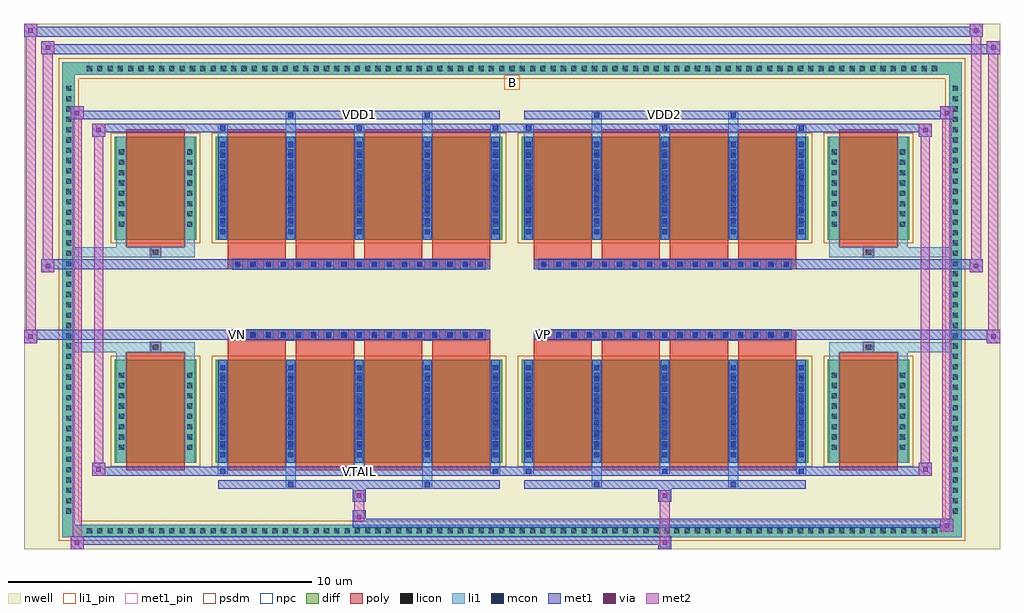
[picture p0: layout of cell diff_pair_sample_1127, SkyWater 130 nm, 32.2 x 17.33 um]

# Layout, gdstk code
import gdstk
lib = gdstk.Library(unit=1e-6, precision=5e-09)
def R(c, l, rs):  # rectangles x0, y0, x1, y1
    for r in rs: c.add(gdstk.rectangle(r[:2], r[2:], *l))
def A(c, l, x, y, w, h, nx, ny, dx, dy):  # array of equal rectangles
    R(c, l, [(x+i*dx, y+j*dy, x+i*dx+w, y+j*dy+h) for i in range(nx) for j in range(ny)])
def P(c, l, *ps):  # polygons
    for p in ps: c.add(gdstk.Polygon(p, *l))
nwell = (64, 20)
diff = (65, 20)
poly = (66, 20)
licon = (66, 44)
li1_pin = (67, 16)
li1 = (67, 20)
mcon = (67, 44)
met1_pin = (68, 16)
met1 = (68, 20)
via = (68, 44)
met2 = (69, 20)
psdm = (94, 20)
npc = (95, 20)

diff_pair_sample_1127 = lib.new_cell('diff_pair_sample_1127')
R(diff_pair_sample_1127, nwell, [(-16.1,-8.23,16.1,9.1), (-13.42,-6.42,-0.01,-0.8), (0.01,-6.42,13.42,-0.8), (-13.42,0.8,-0.01,6.42), (0.01,0.8,13.42,6.42)])
A(diff_pair_sample_1127, diff, -14.145, -7.83, 0.41, 0.41, 83, 2, 0.34, 15.25)
A(diff_pair_sample_1127, diff, -14.83, -7.175, 0.41, 0.41, 1, 42, 0, 0.34)
A(diff_pair_sample_1127, diff, 14.42, -7.175, 0.41, 0.41, 1, 42, 0, 0.34)
R(diff_pair_sample_1127, diff, [(-14.145,-7.83,14.145,-7.42), (-14.83,-7.175,-14.42,7.175), (14.42,-7.175,14.83,7.175), (-13.11,-5.375,-10.41,-1.985), (-9.77,-5.375,-0.32,-1.985), (0.32,-5.375,9.77,-1.985), (10.41,-5.375,13.11,-1.985), (-13.11,1.985,-10.41,5.375), (-9.77,1.985,-0.32,5.375), (0.32,1.985,9.77,5.375), (10.41,1.985,13.11,5.375), (-14.145,7.42,14.145,7.83)])
P(diff_pair_sample_1127, diff, [(14.83,7.83),(-14.83,7.83),(-14.83,-7.42),(-14.42,-7.42),(-14.42,7.42),(14.42,7.42),(14.42,-7.42),(-14.42,-7.42),(-14.83,-7.42),(-14.83,-7.83),(14.83,-7.83)])
A(diff_pair_sample_1127, poly, -9.38, -5.625, 1.92, 3.89, 4, 2, 2.25, 7.36)
A(diff_pair_sample_1127, poly, 0.71, -5.625, 1.92, 3.89, 4, 2, 2.25, 7.36)
A(diff_pair_sample_1127, poly, -9.38, -1.735, 1.92, 0.405, 4, 2, 2.25, 3.065)
A(diff_pair_sample_1127, poly, 0.71, -1.735, 1.92, 0.405, 4, 2, 2.25, 3.065)
A(diff_pair_sample_1127, poly, -9.21, -1.33, 0.33, 0.33, 17, 2, 0.5, 2.33)
A(diff_pair_sample_1127, poly, 0.88, -1.33, 0.33, 0.33, 17, 2, 0.5, 2.33)
R(diff_pair_sample_1127, poly, [(-12.72,-5.625,-10.8,-1.735), (10.8,-5.625,12.72,-1.735), (-11.925,-1.735,-11.595,-1.405), (-11.925,-1.735,-11.595,-1.405), (11.595,-1.735,11.925,-1.405), (11.595,-1.735,11.925,-1.405), (-9.38,-1.33,-0.71,-1), (0.71,-1.33,9.38,-1), (-9.38,1,-0.71,1.33), (0.71,1,9.38,1.33), (-11.925,1.405,-11.595,1.735), (-11.925,1.405,-11.595,1.735), (11.595,1.405,11.925,1.735), (11.595,1.405,11.925,1.735), (-12.72,1.735,-10.8,5.625), (10.8,1.735,12.72,5.625)])
A(diff_pair_sample_1127, licon, -14.025, -7.71, 0.17, 0.17, 83, 2, 0.34, 15.25)
A(diff_pair_sample_1127, licon, -14.71, -7.055, 0.17, 0.17, 1, 42, 0, 0.34)
A(diff_pair_sample_1127, licon, 14.54, -7.055, 0.17, 0.17, 1, 42, 0, 0.34)
A(diff_pair_sample_1127, licon, -12.97, -4.955, 0.17, 0.17, 1, 8, 0, 0.34)
A(diff_pair_sample_1127, licon, -10.72, -4.955, 0.17, 0.17, 1, 8, 0, 0.34)
A(diff_pair_sample_1127, licon, -9.63, -4.955, 0.17, 0.17, 5, 8, 2.25, 0.34)
A(diff_pair_sample_1127, licon, 0.46, -4.955, 0.17, 0.17, 5, 8, 2.25, 0.34)
A(diff_pair_sample_1127, licon, 10.55, -4.955, 0.17, 0.17, 1, 8, 0, 0.34)
A(diff_pair_sample_1127, licon, 12.8, -4.955, 0.17, 0.17, 1, 8, 0, 0.34)
A(diff_pair_sample_1127, licon, -9.13, -1.25, 0.17, 0.17, 17, 2, 0.5, 2.33)
A(diff_pair_sample_1127, licon, 0.96, -1.25, 0.17, 0.17, 17, 2, 0.5, 2.33)
A(diff_pair_sample_1127, licon, -12.97, 2.405, 0.17, 0.17, 1, 8, 0, 0.34)
A(diff_pair_sample_1127, licon, -10.72, 2.405, 0.17, 0.17, 1, 8, 0, 0.34)
A(diff_pair_sample_1127, licon, -9.63, 2.405, 0.17, 0.17, 5, 8, 2.25, 0.34)
A(diff_pair_sample_1127, licon, 0.46, 2.405, 0.17, 0.17, 5, 8, 2.25, 0.34)
A(diff_pair_sample_1127, licon, 10.55, 2.405, 0.17, 0.17, 1, 8, 0, 0.34)
A(diff_pair_sample_1127, licon, 12.8, 2.405, 0.17, 0.17, 1, 8, 0, 0.34)
R(diff_pair_sample_1127, licon, [(-11.845,-1.655,-11.675,-1.485), (11.675,-1.655,11.845,-1.485), (-11.845,1.485,-11.675,1.655), (11.675,1.485,11.845,1.655)])
R(diff_pair_sample_1127, li1_pin, [(-0.25,6.92,0.25,7.42)])
A(diff_pair_sample_1127, li1, -14.105, -7.79, 0.33, 0.33, 83, 2, 0.34, 15.25)
A(diff_pair_sample_1127, li1, -14.79, -7.135, 0.33, 0.33, 1, 42, 0, 0.34)
A(diff_pair_sample_1127, li1, 14.46, -7.135, 0.33, 0.33, 1, 42, 0, 0.34)
A(diff_pair_sample_1127, li1, -9.71, -5.75, 0.33, 0.375, 3, 2, 4.5, 11.125)
A(diff_pair_sample_1127, li1, -9.63, -5.75, 0.17, 0.17, 3, 2, 4.5, 11.33)
A(diff_pair_sample_1127, li1, 0.38, -5.75, 0.33, 0.375, 3, 2, 4.5, 11.125)
A(diff_pair_sample_1127, li1, 0.46, -5.75, 0.17, 0.17, 3, 2, 4.5, 11.33)
A(diff_pair_sample_1127, li1, -9.71, -5.375, 0.33, 3.39, 5, 2, 2.25, 7.36)
A(diff_pair_sample_1127, li1, 0.38, -5.375, 0.33, 3.39, 5, 2, 2.25, 7.36)
A(diff_pair_sample_1127, li1, -9.63, -5.205, 0.17, 0.17, 5, 9, 2.25, 0.36)
A(diff_pair_sample_1127, li1, -9.63, -5.205, 0.17, 3.05, 5, 2, 2.25, 7.36)
A(diff_pair_sample_1127, li1, 0.46, -5.205, 0.17, 0.17, 5, 9, 2.25, 0.36)
A(diff_pair_sample_1127, li1, 0.46, -5.205, 0.17, 3.05, 5, 2, 2.25, 7.36)
A(diff_pair_sample_1127, li1, -13.05, -5.035, 0.33, 0.33, 1, 8, 0, 0.34)
A(diff_pair_sample_1127, li1, -10.8, -5.035, 0.33, 0.33, 1, 8, 0, 0.34)
A(diff_pair_sample_1127, li1, -9.71, -5.035, 0.33, 0.33, 5, 8, 2.25, 0.34)
A(diff_pair_sample_1127, li1, 0.38, -5.035, 0.33, 0.33, 5, 8, 2.25, 0.34)
A(diff_pair_sample_1127, li1, 10.47, -5.035, 0.33, 0.33, 1, 8, 0, 0.34)
A(diff_pair_sample_1127, li1, 12.72, -5.035, 0.33, 0.33, 1, 8, 0, 0.34)
A(diff_pair_sample_1127, li1, -9.21, -1.33, 0.33, 0.33, 17, 2, 0.5, 2.33)
A(diff_pair_sample_1127, li1, 0.88, -1.33, 0.33, 0.33, 17, 2, 0.5, 2.33)
A(diff_pair_sample_1127, li1, -9.63, 2.155, 0.17, 0.17, 5, 9, 2.25, 0.36)
A(diff_pair_sample_1127, li1, 0.46, 2.155, 0.17, 0.17, 5, 9, 2.25, 0.36)
A(diff_pair_sample_1127, li1, -13.05, 2.325, 0.33, 0.33, 1, 8, 0, 0.34)
A(diff_pair_sample_1127, li1, -10.8, 2.325, 0.33, 0.33, 1, 8, 0, 0.34)
A(diff_pair_sample_1127, li1, -9.71, 2.325, 0.33, 0.33, 5, 8, 2.25, 0.34)
A(diff_pair_sample_1127, li1, 0.38, 2.325, 0.33, 0.33, 5, 8, 2.25, 0.34)
A(diff_pair_sample_1127, li1, 10.47, 2.325, 0.33, 0.33, 1, 8, 0, 0.34)
A(diff_pair_sample_1127, li1, 12.72, 2.325, 0.33, 0.33, 1, 8, 0, 0.34)
R(diff_pair_sample_1127, li1, [(-14.83,-7.83,-14.42,-7.42), (-14.83,-7.83,-14.42,-7.42), (-14.42,-7.83,14.42,-7.42), (14.42,-7.83,14.83,-7.42), (14.42,-7.83,14.83,-7.42), (-14.83,-7.42,-14.42,7.42), (14.42,-7.42,14.83,7.42), (-7.46,-6.18,-7.13,-5.375), (-7.38,-6.18,-7.21,-6.01), (-2.96,-6.18,-2.63,-5.375), (-2.88,-6.18,-2.71,-6.01), (2.63,-6.18,2.96,-5.375), (2.71,-6.18,2.88,-6.01), (7.13,-6.18,7.46,-5.375), (7.21,-6.18,7.38,-6.01), (-13.05,-5.375,-12.72,-1.985), (-10.8,-5.375,-10.47,-1.985), (10.47,-5.375,10.8,-1.985), (12.72,-5.375,13.05,-1.985), (-13.05,-1.985,-12.72,-1.405), (-10.8,-1.985,-10.47,-1.405), (10.47,-1.985,10.8,-1.405), (12.72,-1.985,13.05,-1.405), (-14.83,-1.735,-11.925,-1.405), (-13.05,-1.735,-11.925,-1.405), (-11.925,-1.735,-11.595,-1.405), (-11.595,-1.735,-10.47,-1.405), (10.47,-1.735,11.595,-1.405), (11.595,-1.735,11.925,-1.405), (11.595,-1.735,14.83,-1.405), (11.925,-1.735,13.05,-1.405), (-14.83,1.405,-11.925,1.735), (-13.05,1.405,-11.925,1.735), (-13.05,1.405,-12.72,1.985), (-11.925,1.405,-11.595,1.735), (-11.595,1.405,-10.47,1.735), (-10.8,1.405,-10.47,1.985), (10.47,1.405,11.595,1.735), (10.47,1.405,10.8,1.985), (11.595,1.405,11.925,1.735), (11.595,1.405,14.83,1.735), (11.925,1.405,13.05,1.735), (12.72,1.405,13.05,1.985), (-13.05,1.985,-12.72,5.375), (-10.8,1.985,-10.47,5.375), (10.47,1.985,10.8,5.375), (12.72,1.985,13.05,5.375), (-7.46,5.375,-7.13,6.18), (-2.96,5.375,-2.63,6.18), (2.63,5.375,2.96,6.18), (7.13,5.375,7.46,6.18), (-7.38,6.01,-7.21,6.18), (-2.88,6.01,-2.71,6.18), (2.71,6.01,2.88,6.18), (7.21,6.01,7.38,6.18), (-14.83,7.42,-14.42,7.83), (-14.83,7.42,-14.42,7.83), (-14.42,7.42,14.42,7.83), (14.42,7.42,14.83,7.83), (14.42,7.42,14.83,7.83)])
A(diff_pair_sample_1127, mcon, -9.63, -5.75, 0.17, 0.17, 3, 2, 4.5, 11.33)
A(diff_pair_sample_1127, mcon, 0.46, -5.75, 0.17, 0.17, 3, 2, 4.5, 11.33)
A(diff_pair_sample_1127, mcon, -9.63, -5.205, 0.17, 0.17, 5, 9, 2.25, 0.36)
A(diff_pair_sample_1127, mcon, 0.46, -5.205, 0.17, 0.17, 5, 9, 2.25, 0.36)
A(diff_pair_sample_1127, mcon, -9.13, -1.25, 0.17, 0.17, 17, 2, 0.5, 2.33)
A(diff_pair_sample_1127, mcon, 0.96, -1.25, 0.17, 0.17, 17, 2, 0.5, 2.33)
A(diff_pair_sample_1127, mcon, -9.63, 2.155, 0.17, 0.17, 5, 9, 2.25, 0.36)
A(diff_pair_sample_1127, mcon, 0.46, 2.155, 0.17, 0.17, 5, 9, 2.25, 0.36)
R(diff_pair_sample_1127, mcon, [(-7.38,-6.18,-7.21,-6.01), (-2.88,-6.18,-2.71,-6.01), (2.71,-6.18,2.88,-6.01), (7.21,-6.18,7.38,-6.01), (-7.38,6.01,-7.21,6.18), (-2.88,6.01,-2.71,6.18), (2.71,6.01,2.88,6.18), (7.21,6.01,7.38,6.18)])
R(diff_pair_sample_1127, met1_pin, [(-5.18,-5.79,-4.91,-5.52), (-9.18,-1.29,-8.91,-1.02), (0.91,-1.29,1.18,-1.02), (-5.18,5.97,-4.91,6.24), (4.91,5.97,5.18,6.24)])
A(diff_pair_sample_1127, met1, -9.69, -5.81, 0.29, 0.29, 3, 2, 4.5, 11.33)
A(diff_pair_sample_1127, met1, 0.4, -5.81, 0.29, 0.29, 3, 2, 4.5, 11.33)
A(diff_pair_sample_1127, met1, -9.69, -5.375, 0.29, 3.39, 5, 2, 2.25, 7.36)
A(diff_pair_sample_1127, met1, 0.4, -5.375, 0.29, 3.39, 5, 2, 2.25, 7.36)
A(diff_pair_sample_1127, met1, -9.69, -5.265, 0.29, 0.29, 5, 9, 2.25, 0.36)
A(diff_pair_sample_1127, met1, 0.4, -5.265, 0.29, 0.29, 5, 9, 2.25, 0.36)
A(diff_pair_sample_1127, met1, -9.19, -1.31, 0.29, 0.29, 17, 2, 0.5, 2.33)
A(diff_pair_sample_1127, met1, 0.9, -1.31, 0.29, 0.29, 17, 2, 0.5, 2.33)
A(diff_pair_sample_1127, met1, -9.69, 2.095, 0.29, 0.29, 5, 9, 2.25, 0.36)
A(diff_pair_sample_1127, met1, 0.4, 2.095, 0.29, 0.29, 5, 9, 2.25, 0.36)
R(diff_pair_sample_1127, met1, [(-14.56,-8.23,-14.13,-7.8), (4.83,-8.23,5.26,-7.8), (-14.56,-8.09,5.26,-7.8), (14.13,-7.66,14.56,-7.23), (-5.26,-7.52,14.56,-7.23), (-5.26,-7.38,-4.83,-6.95), (-5.26,-6.67,-4.83,-6.24), (4.83,-6.67,5.26,-6.24), (-9.69,-6.24,-0.4,-5.95), (-7.44,-6.24,-7.15,-5.95), (-2.94,-6.24,-2.65,-5.95), (0.4,-6.24,9.69,-5.95), (2.65,-6.24,2.94,-5.95), (7.15,-6.24,7.44,-5.95), (-13.85,-5.81,-13.42,-5.38), (-13.85,-5.81,-9.69,-5.52), (-9.69,-5.81,-0.4,-5.52), (-0.4,-5.81,0.4,-5.52), (0.4,-5.81,9.69,-5.52), (9.69,-5.81,13.85,-5.52), (13.42,-5.81,13.85,-5.38), (-16.1,-1.43,-15.67,-1), (15.67,-1.43,16.1,-1), (-16.1,-1.33,-0.71,-1), (-9.38,-1.33,-0.71,-1), (0.71,-1.33,9.38,-1), (0.71,-1.33,16.1,-1), (-15.53,0.9,-15.1,1.33), (15.1,0.9,15.53,1.33), (-15.53,1,-9.38,1.33), (-9.38,1,-0.71,1.33), (0.71,1,9.38,1.33), (9.38,1,15.53,1.33), (-13.85,5.38,-13.42,5.81), (13.42,5.38,13.85,5.81), (-13.85,5.52,-9.69,5.81), (-9.69,5.52,-0.4,5.81), (-0.4,5.52,0.4,5.81), (0.4,5.52,9.69,5.81), (9.69,5.52,13.85,5.81), (-14.56,5.95,-14.13,6.38), (-14.56,5.95,-9.69,6.24), (-9.69,5.95,-0.4,6.24), (-7.44,5.95,-7.15,6.24), (-2.94,5.95,-2.65,6.24), (0.4,5.95,9.69,6.24), (2.65,5.95,2.94,6.24), (7.15,5.95,7.44,6.24), (9.69,5.95,14.56,6.24), (14.13,5.95,14.56,6.38), (-15.53,8.1,-15.1,8.53), (-15.53,8.1,-13.42,8.43), (-13.42,8.1,13.42,8.43), (13.42,8.1,16.1,8.43), (15.67,8.1,16.1,8.53), (-16.1,8.67,-15.67,9.1), (-16.1,8.67,-13.42,9), (-13.42,8.67,13.42,9), (13.42,8.67,15.53,9), (15.1,8.67,15.53,9.1)])
R(diff_pair_sample_1127, via, [(-14.42,-8.09,-14.27,-7.94), (4.97,-8.09,5.12,-7.94), (14.27,-7.52,14.42,-7.37), (-5.12,-7.24,-4.97,-7.09), (-5.12,-6.53,-4.97,-6.38), (4.97,-6.53,5.12,-6.38), (-13.71,-5.67,-13.56,-5.52), (13.56,-5.67,13.71,-5.52), (-15.96,-1.29,-15.81,-1.14), (15.81,-1.29,15.96,-1.14), (-15.39,1.04,-15.24,1.19), (15.24,1.04,15.39,1.19), (-13.71,5.52,-13.56,5.67), (13.56,5.52,13.71,5.67), (-14.42,6.09,-14.27,6.24), (14.27,6.09,14.42,6.24), (-15.39,8.24,-15.24,8.39), (15.81,8.24,15.96,8.39), (-15.96,8.81,-15.81,8.96), (15.24,8.81,15.39,8.96)])
R(diff_pair_sample_1127, met2, [(-14.56,-8.23,-14.13,-7.8), (-14.49,-8.23,-14.2,6.38), (-14.2,-8.23,-14.13,-7.8), (-14.51,-8.18,-14.18,-7.85), (4.88,-8.18,5.21,-7.85), (4.88,-7.85,5.21,-6.62), (14.13,-7.66,14.56,-7.23), (14.2,-7.66,14.49,6.38), (14.49,-7.66,14.56,-7.23), (14.18,-7.61,14.51,-7.28), (-5.21,-7.33,-4.88,-7), (-5.21,-7,-4.88,-6.62), (-5.21,-6.62,-4.88,-6.29), (4.88,-6.62,5.21,-6.29), (-13.85,-5.81,-13.42,-5.38), (-13.78,-5.81,-13.49,5.81), (-13.49,-5.81,-13.42,-5.38), (13.42,-5.81,13.85,-5.38), (13.49,-5.81,13.78,5.81), (13.78,-5.81,13.85,-5.38), (-13.8,-5.76,-13.47,-5.43), (13.47,-5.76,13.8,-5.43), (-16.1,-1.43,-15.67,-1), (-16.05,-1.43,-15.72,9.1), (-15.72,-1.43,-15.67,-1), (15.67,-1.43,16.1,-1), (15.72,-1.43,16.05,8.53), (16.05,-1.43,16.1,-1), (-16.05,-1.38,-15.72,-1.05), (15.72,-1.38,16.05,-1.05), (-15.53,0.9,-15.1,1.33), (-15.48,0.9,-15.15,8.53), (-15.15,0.9,-15.1,1.33), (15.1,0.9,15.53,1.33), (15.15,0.9,15.48,9.1), (15.48,0.9,15.53,1.33), (-15.48,0.95,-15.15,1.28), (15.15,0.95,15.48,1.28), (-13.85,5.38,-13.42,5.81), (-13.49,5.38,-13.42,5.81), (13.42,5.38,13.85,5.81), (13.78,5.38,13.85,5.81), (-13.8,5.43,-13.47,5.76), (13.47,5.43,13.8,5.76), (-14.56,5.95,-14.13,6.38), (-14.2,5.95,-14.13,6.38), (14.13,5.95,14.56,6.38), (14.49,5.95,14.56,6.38), (-14.51,6,-14.18,6.33), (14.18,6,14.51,6.33), (-15.53,8.1,-15.1,8.53), (-15.15,8.1,-15.1,8.53), (15.67,8.1,16.1,8.53), (16.05,8.1,16.1,8.53), (-15.48,8.15,-15.15,8.48), (15.72,8.15,16.05,8.48), (-16.1,8.67,-15.67,9.1), (-15.72,8.67,-15.67,9.1), (15.1,8.67,15.53,9.1), (15.48,8.67,15.53,9.1), (-16.05,8.72,-15.72,9.05), (15.15,8.72,15.48,9.05)])
R(diff_pair_sample_1127, psdm, [(-13.24,-5.505,-10.28,-1.855), (-9.9,-5.505,-0.19,-1.855), (0.19,-5.505,9.9,-1.855), (10.28,-5.505,13.24,-1.855), (-13.24,1.855,-10.28,5.505), (-9.9,1.855,-0.19,5.505), (0.19,1.855,9.9,5.505), (10.28,1.855,13.24,5.505)])
P(diff_pair_sample_1127, psdm, [(14.96,7.96),(-14.96,7.96),(-14.96,-7.29),(-14.29,-7.29),(-14.29,7.29),(14.29,7.29),(14.29,-7.29),(-14.29,-7.29),(-14.96,-7.29),(-14.96,-7.96),(14.96,-7.96)])
A(diff_pair_sample_1127, npc, -9.23, -1.35, 0.37, 0.37, 17, 2, 0.5, 2.33)
A(diff_pair_sample_1127, npc, 0.86, -1.35, 0.37, 0.37, 17, 2, 0.5, 2.33)
R(diff_pair_sample_1127, npc, [(-11.945,-1.755,-11.575,-1.385), (11.575,-1.755,11.945,-1.385), (-9.23,-1.35,-8.36,-0.98), (-9.23,-1.35,-8.36,-0.98), (-8.73,-1.35,-7.86,-0.98), (-8.73,-1.35,-7.86,-0.98), (-8.23,-1.35,-7.36,-0.98), (-8.23,-1.35,-7.36,-0.98), (-7.73,-1.35,-6.86,-0.98), (-7.73,-1.35,-6.86,-0.98), (-7.23,-1.35,-6.36,-0.98), (-7.23,-1.35,-6.36,-0.98), (-6.73,-1.35,-5.86,-0.98), (-6.73,-1.35,-5.86,-0.98), (-6.23,-1.35,-5.36,-0.98), (-6.23,-1.35,-5.36,-0.98), (-5.73,-1.35,-4.86,-0.98), (-5.73,-1.35,-4.86,-0.98), (-5.23,-1.35,-4.36,-0.98), (-5.23,-1.35,-4.36,-0.98), (-4.73,-1.35,-3.86,-0.98), (-4.73,-1.35,-3.86,-0.98), (-4.23,-1.35,-3.36,-0.98), (-4.23,-1.35,-3.36,-0.98), (-3.73,-1.35,-2.86,-0.98), (-3.73,-1.35,-2.86,-0.98), (-3.23,-1.35,-2.36,-0.98), (-3.23,-1.35,-2.36,-0.98), (-2.73,-1.35,-1.86,-0.98), (-2.73,-1.35,-1.86,-0.98), (-2.23,-1.35,-1.36,-0.98), (-2.23,-1.35,-1.36,-0.98), (-1.73,-1.35,-0.86,-0.98), (-1.73,-1.35,-0.86,-0.98), (0.86,-1.35,1.73,-0.98), (0.86,-1.35,1.73,-0.98), (1.36,-1.35,2.23,-0.98), (1.36,-1.35,2.23,-0.98), (1.86,-1.35,2.73,-0.98), (1.86,-1.35,2.73,-0.98), (2.36,-1.35,3.23,-0.98), (2.36,-1.35,3.23,-0.98), (2.86,-1.35,3.73,-0.98), (2.86,-1.35,3.73,-0.98), (3.36,-1.35,4.23,-0.98), (3.36,-1.35,4.23,-0.98), (3.86,-1.35,4.73,-0.98), (3.86,-1.35,4.73,-0.98), (4.36,-1.35,5.23,-0.98), (4.36,-1.35,5.23,-0.98), (4.86,-1.35,5.73,-0.98), (4.86,-1.35,5.73,-0.98), (5.36,-1.35,6.23,-0.98), (5.36,-1.35,6.23,-0.98), (5.86,-1.35,6.73,-0.98), (5.86,-1.35,6.73,-0.98), (6.36,-1.35,7.23,-0.98), (6.36,-1.35,7.23,-0.98), (6.86,-1.35,7.73,-0.98), (6.86,-1.35,7.73,-0.98), (7.36,-1.35,8.23,-0.98), (7.36,-1.35,8.23,-0.98), (7.86,-1.35,8.73,-0.98), (7.86,-1.35,8.73,-0.98), (8.36,-1.35,9.23,-0.98), (8.36,-1.35,9.23,-0.98), (-9.23,0.98,-8.36,1.35), (-9.23,0.98,-8.36,1.35), (-8.73,0.98,-7.86,1.35), (-8.73,0.98,-7.86,1.35), (-8.23,0.98,-7.36,1.35), (-8.23,0.98,-7.36,1.35), (-7.73,0.98,-6.86,1.35), (-7.73,0.98,-6.86,1.35), (-7.23,0.98,-6.36,1.35), (-7.23,0.98,-6.36,1.35), (-6.73,0.98,-5.86,1.35), (-6.73,0.98,-5.86,1.35), (-6.23,0.98,-5.36,1.35), (-6.23,0.98,-5.36,1.35), (-5.73,0.98,-4.86,1.35), (-5.73,0.98,-4.86,1.35), (-5.23,0.98,-4.36,1.35), (-5.23,0.98,-4.36,1.35), (-4.73,0.98,-3.86,1.35), (-4.73,0.98,-3.86,1.35), (-4.23,0.98,-3.36,1.35), (-4.23,0.98,-3.36,1.35), (-3.73,0.98,-2.86,1.35), (-3.73,0.98,-2.86,1.35), (-3.23,0.98,-2.36,1.35), (-3.23,0.98,-2.36,1.35), (-2.73,0.98,-1.86,1.35), (-2.73,0.98,-1.86,1.35), (-2.23,0.98,-1.36,1.35), (-2.23,0.98,-1.36,1.35), (-1.73,0.98,-0.86,1.35), (-1.73,0.98,-0.86,1.35), (0.86,0.98,1.73,1.35), (0.86,0.98,1.73,1.35), (1.36,0.98,2.23,1.35), (1.36,0.98,2.23,1.35), (1.86,0.98,2.73,1.35), (1.86,0.98,2.73,1.35), (2.36,0.98,3.23,1.35), (2.36,0.98,3.23,1.35), (2.86,0.98,3.73,1.35), (2.86,0.98,3.73,1.35), (3.36,0.98,4.23,1.35), (3.36,0.98,4.23,1.35), (3.86,0.98,4.73,1.35), (3.86,0.98,4.73,1.35), (4.36,0.98,5.23,1.35), (4.36,0.98,5.23,1.35), (4.86,0.98,5.73,1.35), (4.86,0.98,5.73,1.35), (5.36,0.98,6.23,1.35), (5.36,0.98,6.23,1.35), (5.86,0.98,6.73,1.35), (5.86,0.98,6.73,1.35), (6.36,0.98,7.23,1.35), (6.36,0.98,7.23,1.35), (6.86,0.98,7.73,1.35), (6.86,0.98,7.73,1.35), (7.36,0.98,8.23,1.35), (7.36,0.98,8.23,1.35), (7.86,0.98,8.73,1.35), (7.86,0.98,8.73,1.35), (8.36,0.98,9.23,1.35), (8.36,0.98,9.23,1.35), (-11.945,1.385,-11.575,1.755), (11.575,1.385,11.945,1.755)])
diff_pair_sample_1127.add(gdstk.Label('VTAIL', (-5.045,-5.655), layer=68, texttype=5))
diff_pair_sample_1127.add(gdstk.Label('VN', (-9.045,-1.155), layer=68, texttype=5))
diff_pair_sample_1127.add(gdstk.Label('VP', (1.045,-1.155), layer=68, texttype=5))
diff_pair_sample_1127.add(gdstk.Label('B', (0,7.17), layer=67, texttype=5))
diff_pair_sample_1127.add(gdstk.Label('VDD2', (5.045,6.105), layer=68, texttype=5))
diff_pair_sample_1127.add(gdstk.Label('VDD1', (-5.045,6.105), layer=68, texttype=5))

lib.write_gds('diff_pair_sample_1127.gds')
